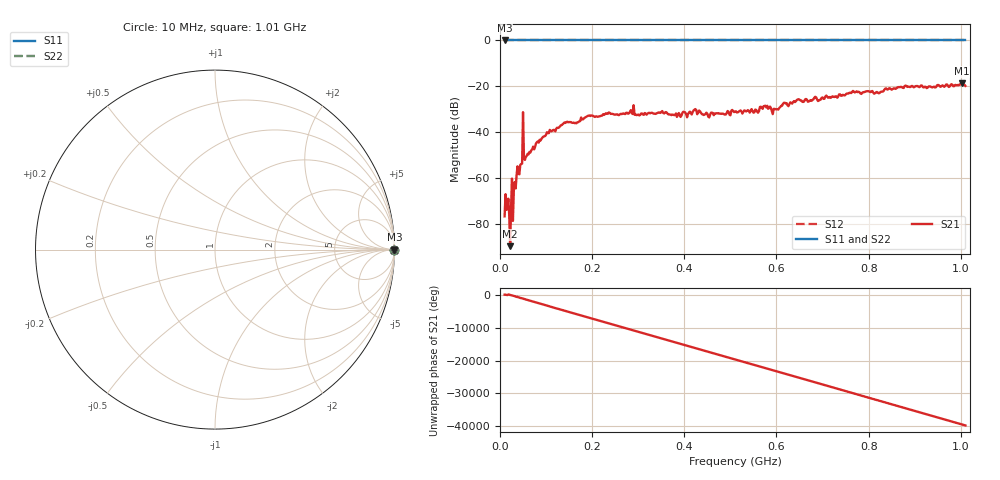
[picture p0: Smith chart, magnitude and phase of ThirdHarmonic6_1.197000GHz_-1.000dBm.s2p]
! 8/16/2025 12:21:52 PM
! C:\ANRITSUVNA\TEMP\TEMP.S2P
! CHANNEL.1
! TR.MEASUREMENT
! RAW.DATA
! RF.CORRECTION.OFF
! AVERAGING.OFF
! IF.BANDWIDTH: 5KHZ
! SWEEPTYPE:  FREQ.SWEEP(Linear)
! Reference Plane Port Info
! PORT:  PORT1  PORT2
! DISTANCE:  0  m  0  m
! TIME:  0  s  0  s
! PHASE.OFFSET:  0  deg.  0  deg.
! LOSS:  0  dB  0  dB
! REF.LOSS:  0  dB  0  dB
! REF.FREQ:  0  Hz  0  Hz
! Power Info
! POWER:  -20  dBm  -20  dBm
! EFF.POWER:  -20  dBm  -20  dBm
! SOURCE.ATTEN:  0  dB  0  dB
! TEST.ATTEN:  0  dB  0  dB
# GHZ S RI R 50.0
! FREQ.GHZ  S11RE  S11IM  S21RE  S21IM  S12RE  S12IM  S22RE  S22IM
!; PortSelection: Port_12
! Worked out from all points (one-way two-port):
!   501 points, 10 MHz to 1.01 GHz, reference 50 ohm
!   highest |S21| = -18.65 dB at 1.002 GHz (marker M1); lowest = -89.7 dB at 22 MHz (marker M2)
!   lowest |S11| = 0.0 dB at 10 MHz (marker M3)
!   |S11| at or under -10 dB: nowhere
!   |S22| runs from 0.0 to 0.0 dB; largest |S21 - S12| = 1.1
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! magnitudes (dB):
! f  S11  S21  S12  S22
! 10 MHz  0.0  -76.8  0.0  0.0
! 16 MHz  0.0  -73.6  0.0  0.0
! 20 MHz  0.0  -76.0  0.0  0.0
! 22 MHz  0.0  -89.7  0.0  0.0
! 24 MHz  0.0  -73.2  0.0  0.0
! 28 MHz  0.0  -78.7  0.0  0.0
! 32 MHz  0.0  -61.8  0.0  0.0
! 34 MHz  0.0  -64.6  0.0  0.0
! 44 MHz  0.0  -54.3  0.0  0.0
! 46 MHz  0.0  -53.9  0.0  0.0
! 54 MHz  0.0  -52.1  0.0  0.0
! 56 MHz  0.0  -50.9  0.0  0.0
! 106 MHz  0.0  -40.4  0.0  0.0
! 178 MHz  0.0  -34.4  0.0  0.0
! 344 MHz  0.0  -31.4  0.0  0.0
! 510 MHz  0.0  -31.1  0.0  0.0
! 576 MHz  0.0  -28.5  0.0  0.0
! 594 MHz  0.0  -29.9  0.0  0.0
! 678 MHz  0.0  -26.0  0.0  0.0
! 844 MHz  0.0  -20.9  0.0  0.0
! 1.002 GHz  0.0  -18.7  0.0  0.0
! 1.01 GHz  0.0  -19.8  0.0  0.0
